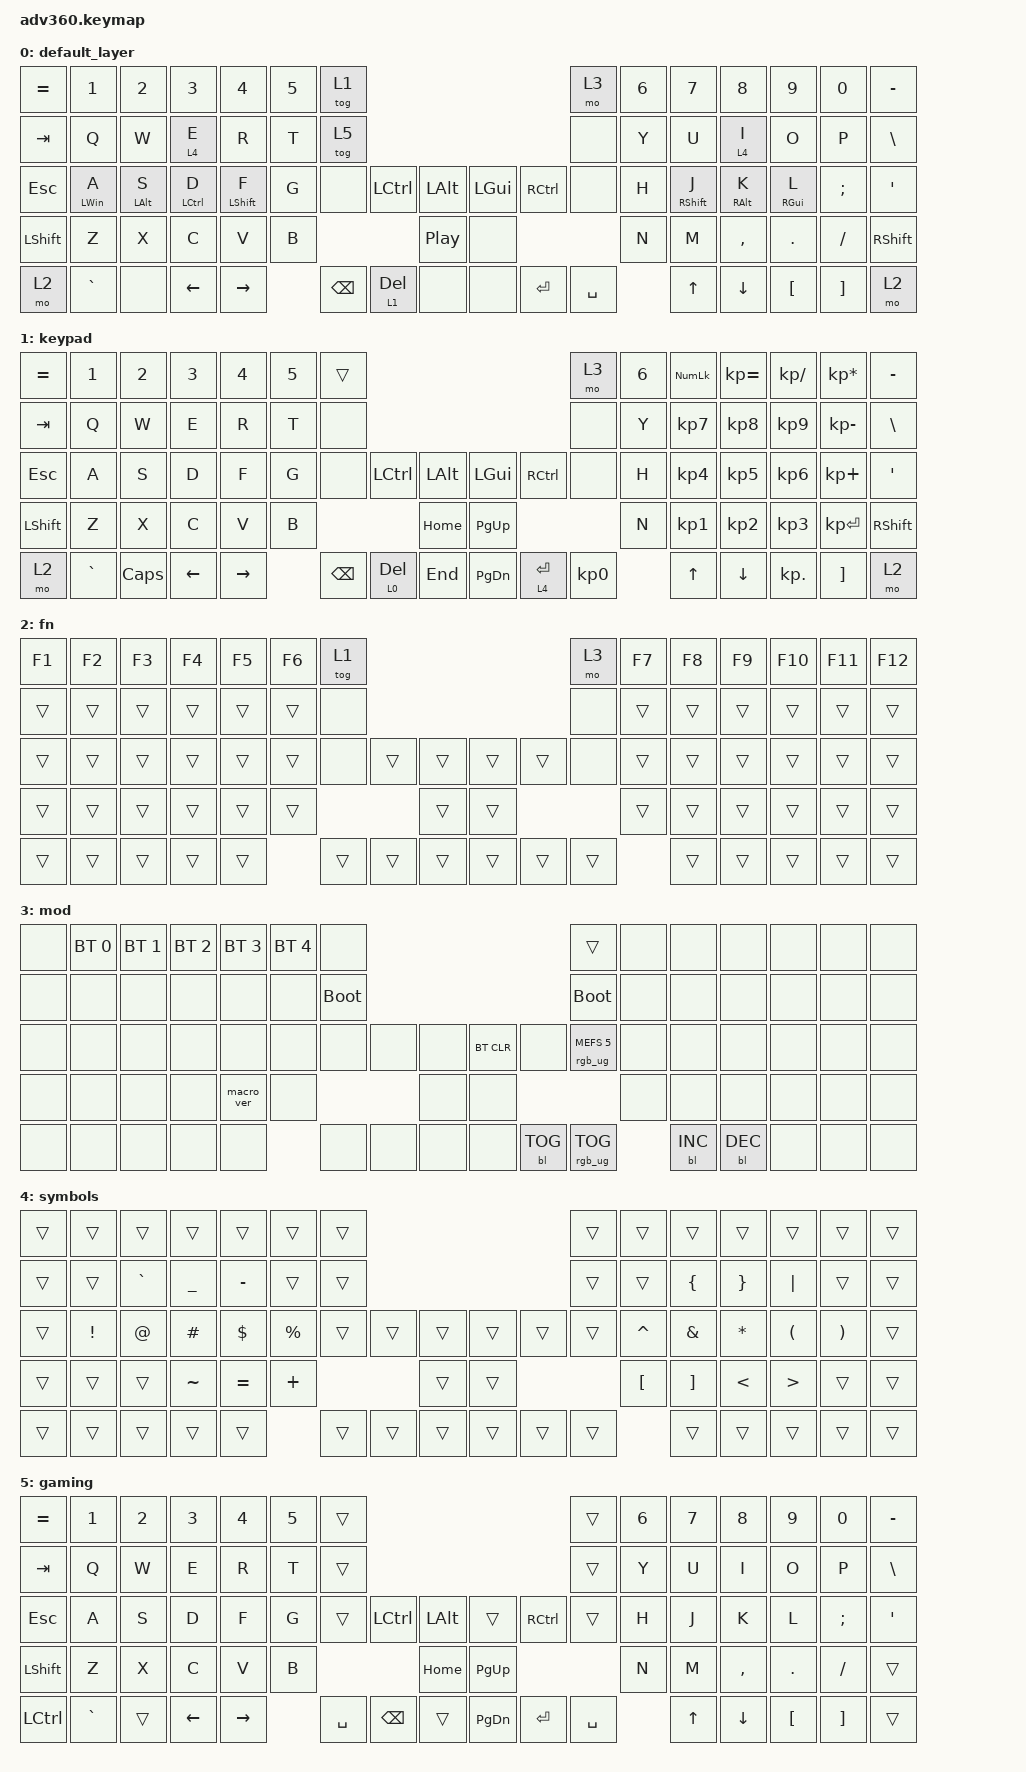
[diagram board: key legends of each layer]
#include <behaviors.dtsi>
#include <dt-bindings/zmk/backlight.h>
#include <dt-bindings/zmk/bt.h>
#include <dt-bindings/zmk/keys.h>
#include <dt-bindings/zmk/rgb.h>

/ {
    behaviors {
        #include "macros.dtsi"
      #include "version.dtsi"
      #ifndef VERSION_MACRO

        macro_ver: macro_ver {
            compatible = "zmk,behavior-macro";
            label = "macro_version";
            #binding-cells = <0>;
            bindings = <&kp RET>;
        };

        #endif

        hm: homerow_mods {
            compatible = "zmk,behavior-hold-tap";
            label = "HOMEROW_MODS";
            #binding-cells = <2>;
            tapping-term-ms = <200>;
            quick_tap_ms = <175>;
            flavor = "tap-preferred";
            bindings = <&kp>, <&kp>;
        };
    };

    macros {
    };

    keymap {
        compatible = "zmk,keymap";

        default_layer {
            bindings = <
&kp EQUAL  &kp N1          &kp N2          &kp N3       &kp N4            &kp N5  &tog 1                                                  &mo 3      &kp N6  &kp N7             &kp N8           &kp N9           &kp N0    &kp MINUS
&kp TAB    &kp Q           &kp W           &lt 4 E      &kp R             &kp T   &tog 5                                                  &none      &kp Y   &kp U              &lt 4 I          &kp O            &kp P     &kp BSLH
&kp ESC    &hm LEFT_WIN A  &hm LEFT_ALT S  &hm LCTRL D  &hm LEFT_SHIFT F  &kp G   &none     &kp LCTRL  &kp LALT      &kp LGUI  &kp RCTRL  &none      &kp H   &hm RIGHT_SHIFT J  &hm RIGHT_ALT K  &hm RIGHT_GUI L  &kp SEMI  &kp SQT
&kp LSHFT  &kp Z           &kp X           &kp C        &kp V             &kp B                        &kp C_PP      &none                           &kp N   &kp M              &kp COMMA        &kp DOT          &kp FSLH  &kp RSHFT
&mo 2      &kp GRAVE       &none           &kp LEFT     &kp RIGHT                 &kp BSPC  &lt 1 DEL  &none         &none     &kp ENTER  &kp SPACE          &kp UP             &kp DOWN         &kp LBKT         &kp RBKT  &mo 2
            >;
        };

        keypad {
            bindings = <
&kp EQUAL  &kp N1     &kp N2    &kp N3    &kp N4     &kp N5  &trans                                                     &mo 3      &kp N6  &kp KP_NUM  &kp KP_EQUAL  &kp KP_DIVIDE  &kp KP_MULTIPLY  &kp MINUS
&kp TAB    &kp Q      &kp W     &kp E     &kp R      &kp T   &none                                                      &none      &kp Y   &kp KP_N7   &kp KP_N8     &kp KP_N9      &kp KP_MINUS     &kp BSLH
&kp ESC    &kp A      &kp S     &kp D     &kp F      &kp G   &none     &kp LCTRL  &kp LALT      &kp LGUI   &kp RCTRL    &none      &kp H   &kp KP_N4   &kp KP_N5     &kp KP_N6      &kp KP_PLUS      &kp SQT
&kp LSHFT  &kp Z      &kp X     &kp C     &kp V      &kp B                        &kp HOME      &kp PG_UP                          &kp N   &kp KP_N1   &kp KP_N2     &kp KP_N3      &kp KP_ENTER     &kp RSHFT
&mo 2      &kp GRAVE  &kp CAPS  &kp LEFT  &kp RIGHT          &kp BSPC  &lt 0 DEL  &kp END       &kp PG_DN  &lt 4 ENTER  &kp KP_N0          &kp UP      &kp DOWN      &kp KP_DOT     &kp RBKT         &mo 2
            >;
        };

        fn {
            bindings = <
&kp F1  &kp F2  &kp F3  &kp F4  &kp F5  &kp F6  &tog 1                                      &mo 3   &kp F7  &kp F8  &kp F9  &kp F10  &kp F11  &kp F12
&trans  &trans  &trans  &trans  &trans  &trans  &none                                       &none   &trans  &trans  &trans  &trans   &trans   &trans
&trans  &trans  &trans  &trans  &trans  &trans  &none   &trans  &trans      &trans  &trans  &none   &trans  &trans  &trans  &trans   &trans   &trans
&trans  &trans  &trans  &trans  &trans  &trans                  &trans      &trans                  &trans  &trans  &trans  &trans   &trans   &trans
&trans  &trans  &trans  &trans  &trans          &trans  &trans  &trans      &trans  &trans  &trans          &trans  &trans  &trans   &trans   &trans
            >;
        };

        mod {
            bindings = <
&none  &bt BT_SEL 0  &bt BT_SEL 1  &bt BT_SEL 2  &bt BT_SEL 3  &bt BT_SEL 4  &none                                                  &trans                  &none  &none       &none       &none  &none  &none
&none  &none         &none         &none         &none         &none         &bootloader                                            &bootloader             &none  &none       &none       &none  &none  &none
&none  &none         &none         &none         &none         &none         &none        &none  &none      &bt BT_CLR  &none       &rgb_ug RGB_MEFS_CMD 5  &none  &none       &none       &none  &none  &none
&none  &none         &none         &none         &macro_ver    &none                             &none      &none                                           &none  &none       &none       &none  &none  &none
&none  &none         &none         &none         &none                       &none        &none  &none      &none       &bl BL_TOG  &rgb_ug RGB_TOG                &bl BL_INC  &bl BL_DEC  &none  &none  &none
            >;
        };

        symbols {
            bindings = <
&trans  &trans    &trans     &trans          &trans     &trans     &trans                                      &trans  &trans     &trans    &trans     &trans    &trans    &trans
&trans  &trans    &kp GRAVE  &kp UNDERSCORE  &kp MINUS  &trans     &trans                                      &trans  &trans     &kp LBRC  &kp RBRC   &kp PIPE  &trans    &trans
&trans  &kp EXCL  &kp AT     &kp HASH        &kp DLLR   &kp PRCNT  &trans  &trans  &trans      &trans  &trans  &trans  &kp CARET  &kp AMPS  &kp ASTRK  &kp LPAR  &kp RPAR  &trans
&trans  &trans    &trans     &kp TILDE       &kp EQUAL  &kp PLUS                   &trans      &trans                  &kp LBKT   &kp RBKT  &kp LT     &kp GT    &trans    &trans
&trans  &trans    &trans     &trans          &trans                &trans  &trans  &trans      &trans  &trans  &trans             &trans    &trans     &trans    &trans    &trans
            >;
        };

        gaming {
            bindings = <
&kp EQUAL       &kp N1     &kp N2  &kp N3    &kp N4     &kp N5  &trans                                                        &trans     &kp N6  &kp N7  &kp N8     &kp N9    &kp N0    &kp MINUS
&kp TAB         &kp Q      &kp W   &kp E     &kp R      &kp T   &trans                                                        &trans     &kp Y   &kp U   &kp I      &kp O     &kp P     &kp BSLH
&kp ESC         &kp A      &kp S   &kp D     &kp F      &kp G   &trans     &kp LCTRL      &kp LALT      &trans     &kp RCTRL  &trans     &kp H   &kp J   &kp K      &kp L     &kp SEMI  &kp SQT
&kp LEFT_SHIFT  &kp Z      &kp X   &kp C     &kp V      &kp B                             &kp HOME      &kp PG_UP                        &kp N   &kp M   &kp COMMA  &kp DOT   &kp FSLH  &trans
&kp LCTRL       &kp GRAVE  &trans  &kp LEFT  &kp RIGHT          &kp SPACE  &kp BACKSPACE  &trans        &kp PG_DN  &kp RET    &kp SPACE          &kp UP  &kp DOWN   &kp LBKT  &kp RBKT  &trans
            >;
        };
    };
};
